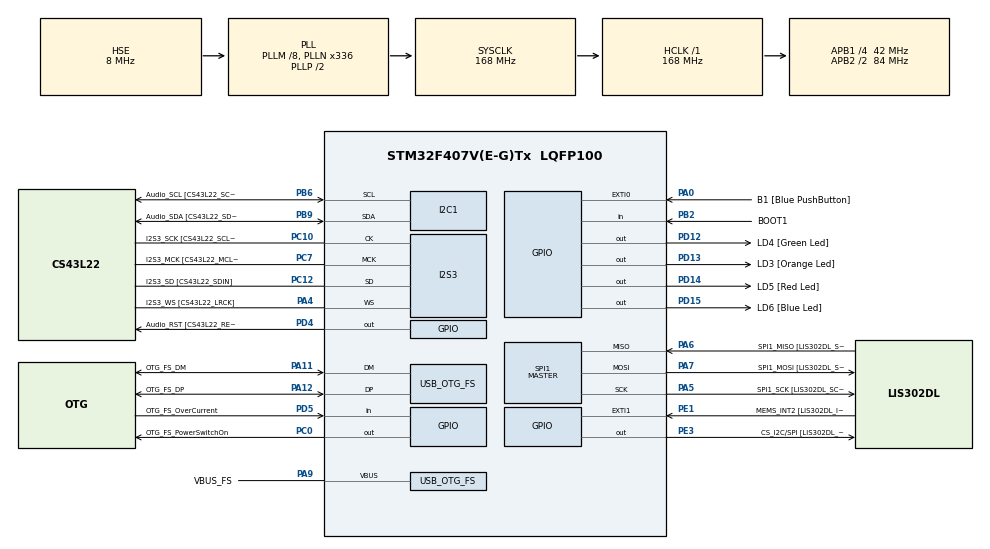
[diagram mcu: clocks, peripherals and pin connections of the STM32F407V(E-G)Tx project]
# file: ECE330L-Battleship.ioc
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I2S3.AudioFreq-Half_Duplex_Master=I2S_AUDIOFREQ_96K
I2S3.ErrorAudioFreq=-2.34 %
I2S3.ErrorAudioFreq-Half_Duplex_Master=0.8 %
I2S3.FullDuplexMode=I2S_FULLDUPLEXMODE_DISABLE
I2S3.Instance=SPI$Index
I2S3.RealAudioFreq=93.75 KHz
I2S3.RealAudioFreq-Half_Duplex_Master=96.774 KHz
I2S3.VirtualMode=I2S_MODE_MASTER
Mcu.Family=STM32F4
Mcu.Name=STM32F407V(E-G)Tx
Mcu.Package=LQFP100
NVIC.OTG_FS_IRQn=true\:0\:0\:false\:false\:true\:true\:true\:true
NVIC.PriorityGroup=NVIC_PRIORITYGROUP_0
PA0-WKUP.GPIO_Label=B1 [Blue PushButton]
PA0-WKUP.GPIO_ModeDefaultEXTI=GPIO_MODE_EVT_RISING
PA0-WKUP.GPIO_PuPd=GPIO_NOPULL
PA0-WKUP.Signal=GPXTI0
PA10.GPIO_Label=OTG_FS_ID
PA10.GPIO_Mode=GPIO_MODE_AF_PP
PA10.GPIO_PuPd=GPIO_NOPULL
PA10.GPIO_Speed=GPIO_SPEED_FREQ_LOW
PA10.Signal=USB_OTG_FS_ID
PA11.GPIO_Label=OTG_FS_DM
PA11.GPIO_Mode=GPIO_MODE_AF_PP
PA11.GPIO_PuPd=GPIO_NOPULL
PA11.GPIO_Speed=GPIO_SPEED_FREQ_LOW
PA11.Mode=Host_Only
PA11.Signal=USB_OTG_FS_DM
PA12.GPIO_Label=OTG_FS_DP
PA12.GPIO_Mode=GPIO_MODE_AF_PP
PA12.GPIO_PuPd=GPIO_NOPULL
PA12.GPIO_Speed=GPIO_SPEED_FREQ_LOW
PA12.Mode=Host_Only
PA12.Signal=USB_OTG_FS_DP
PA13.GPIO_Label=SWDIO
PA13.Mode=Serial_Wire
PA13.Signal=SYS_JTMS-SWDIO
PA14.GPIO_Label=SWCLK
PA14.Mode=Serial_Wire
PA14.Signal=SYS_JTCK-SWCLK
PA4.GPIO_Label=I2S3_WS [CS43L22_LRCK]
PA4.GPIO_Mode=GPIO_MODE_AF_PP
PA4.GPIO_PuPd=GPIO_NOPULL
PA4.GPIO_Speed=GPIO_SPEED_FREQ_LOW
PA4.Mode=Half_Duplex_Master
PA4.Signal=I2S3_WS
PA5.GPIO_Label=SPI1_SCK [LIS302DL_SCL/SPC]
PA5.GPIO_Mode=GPIO_MODE_AF_PP
PA5.GPIO_PuPd=GPIO_NOPULL
PA5.GPIO_Speed=GPIO_SPEED_FREQ_LOW
PA5.Mode=Full_Duplex_Master
PA5.Signal=SPI1_SCK
PA6.GPIO_Label=SPI1_MISO [LIS302DL_SDO]
PA6.GPIO_Mode=GPIO_MODE_AF_PP
PA6.GPIO_PuPd=GPIO_NOPULL
PA6.GPIO_Speed=GPIO_SPEED_FREQ_LOW
PA6.Mode=Full_Duplex_Master
PA6.Signal=SPI1_MISO
PA7.GPIO_Label=SPI1_MOSI [LIS302DL_SDA/SDI/SDO]
PA7.GPIO_Mode=GPIO_MODE_AF_PP
PA7.GPIO_PuPd=GPIO_NOPULL
PA7.GPIO_Speed=GPIO_SPEED_FREQ_LOW
PA7.Mode=Full_Duplex_Master
PA7.Signal=SPI1_MOSI
PA9.GPIO_Label=VBUS_FS
PA9.GPIO_Mode=GPIO_MODE_INPUT
PA9.GPIO_PuPd=GPIO_NOPULL
PA9.Mode=Activate_VBUS
PA9.Signal=USB_OTG_FS_VBUS
PB10.GPIO_Label=CLK_IN [MP45DT02_CLK]
PB10.GPIO_Mode=GPIO_MODE_AF_PP
PB10.GPIO_PuPd=GPIO_NOPULL
PB10.GPIO_Speed=GPIO_SPEED_FREQ_LOW
PB10.Signal=I2S2_CK
PB2.GPIO_Label=BOOT1
PB2.GPIO_Mode=GPIO_MODE_INPUT
PB2.GPIO_PuPd=GPIO_NOPULL
PB2.Signal=GPIO_Input
PB3.GPIO_Label=SWO
PB3.Signal=SYS_JTDO-SWO
PB6.GPIO_Label=Audio_SCL [CS43L22_SCL]
PB6.GPIO_Mode=GPIO_MODE_AF_OD
PB6.GPIO_Pu=GPIO_PULLUP
PB6.GPIO_PuPd=GPIO_NOPULL
PB6.GPIO_Speed=GPIO_SPEED_FREQ_LOW
PB6.Mode=I2C
PB6.Signal=I2C1_SCL
PB9.GPIO_Label=Audio_SDA [CS43L22_SDA]
PB9.GPIO_Mode=GPIO_MODE_AF_OD
PB9.GPIO_Pu=GPIO_PULLUP
PB9.GPIO_PuPd=GPIO_NOPULL
PB9.GPIO_Speed=GPIO_SPEED_FREQ_LOW
PB9.Mode=I2C
PB9.Signal=I2C1_SDA
PC0.GPIO_Label=OTG_FS_PowerSwitchOn
PC0.GPIO_PuPd=GPIO_NOPULL
PC0.GPIO_Speed=GPIO_SPEED_FREQ_LOW
PC0.PinState=GPIO_PIN_SET
PC0.Signal=GPIO_Output
PC10.GPIO_Label=I2S3_SCK [CS43L22_SCLK]
PC10.GPIO_Mode=GPIO_MODE_AF_PP
PC10.GPIO_PuPd=GPIO_NOPULL
PC10.GPIO_Speed=GPIO_SPEED_FREQ_LOW
PC10.Mode=Half_Duplex_Master
PC10.Signal=I2S3_CK
PC12.GPIO_Label=I2S3_SD [CS43L22_SDIN]
PC12.GPIO_Mode=GPIO_MODE_AF_PP
PC12.GPIO_PuPd=GPIO_NOPULL
PC12.GPIO_Speed=GPIO_SPEED_FREQ_LOW
PC12.Mode=Half_Duplex_Master
PC12.Signal=I2S3_SD
PC14-OSC32_IN.GPIO_Label=PC14-OSC32_IN
PC14-OSC32_IN.Mode=LSE-External-Oscillator
PC14-OSC32_IN.Signal=RCC_OSC32_IN
PC15-OSC32_OUT.GPIO_Label=PC15-OSC32_OUT
PC15-OSC32_OUT.Mode=LSE-External-Oscillator
PC15-OSC32_OUT.Signal=RCC_OSC32_OUT
PC3.GPIO_Label=PDM_OUT [MP45DT02_DOUT]
PC3.GPIO_Mode=GPIO_MODE_AF_PP
PC3.GPIO_PuPd=GPIO_NOPULL
PC3.GPIO_Speed=GPIO_SPEED_FREQ_LOW
PC3.Signal=I2S2_SD
PC7.GPIO_Label=I2S3_MCK [CS43L22_MCLK]
PC7.GPIO_Mode=GPIO_MODE_AF_PP
PC7.GPIO_PuPd=GPIO_NOPULL
PC7.GPIO_Speed=GPIO_SPEED_FREQ_LOW
PC7.Mode=Master_Clock_Activated
PC7.Signal=I2S3_MCK
PD12.GPIO_Label=LD4 [Green Led]
PD12.GPIO_PuPd=GPIO_NOPULL
PD12.GPIO_Speed=GPIO_SPEED_FREQ_LOW
PD12.Signal=GPIO_Output
PD13.GPIO_Label=LD3 [Orange Led]
PD13.GPIO_PuPd=GPIO_NOPULL
PD13.GPIO_Speed=GPIO_SPEED_FREQ_LOW
PD13.Signal=GPIO_Output
PD14.GPIO_Label=LD5 [Red Led]
PD14.GPIO_PuPd=GPIO_NOPULL
PD14.GPIO_Speed=GPIO_SPEED_FREQ_LOW
PD14.Signal=GPIO_Output
PD15.GPIO_Label=LD6 [Blue Led]
PD15.GPIO_PuPd=GPIO_NOPULL
PD15.GPIO_Speed=GPIO_SPEED_FREQ_LOW
PD15.Signal=GPIO_Output
PD4.GPIO_Label=Audio_RST [CS43L22_RESET]
PD4.GPIO_PuPd=GPIO_NOPULL
PD4.GPIO_Speed=GPIO_SPEED_FREQ_LOW
PD4.Signal=GPIO_Output
PD5.GPIO_Label=OTG_FS_OverCurrent
PD5.GPIO_Mode=GPIO_MODE_INPUT
PD5.GPIO_PuPd=GPIO_NOPULL
PD5.Signal=GPIO_Input
PE1.GPIO_Label=MEMS_INT2 [LIS302DL_INT2]
PE1.GPIO_ModeDefaultEXTI=GPIO_MODE_EVT_RISING
PE1.GPIO_PuPd=GPIO_NOPULL
PE1.Signal=GPXTI1
PE3.GPIO_Label=CS_I2C/SPI [LIS302DL_CS_I2C/SPI]
PE3.GPIO_PuPd=GPIO_NOPULL
PE3.GPIO_Speed=GPIO_SPEED_FREQ_LOW
PE3.Signal=GPIO_Output
PH0-OSC_IN.GPIO_Label=PH0-OSC_IN
PH0-OSC_IN.Mode=HSE-External-Oscillator
PH0-OSC_IN.Signal=RCC_OSC_IN
PH1-OSC_OUT.GPIO_Label=PH1-OSC_OUT
PH1-OSC_OUT.Mode=HSE-External-Oscillator
PH1-OSC_OUT.Signal=RCC_OSC_OUT
ProjectManager.HeapSize=0x200
ProjectManager.StackSize=0x400
ProjectManager.TargetToolchain=STM32CubeIDE
RCC.48MHZClocksFreq_Value=48000000
RCC.AHBFreq_Value=168000000
RCC.APB1CLKDivider=RCC_HCLK_DIV4
RCC.APB1Freq_Value=42000000
RCC.APB1TimFreq_Value=84000000
RCC.APB2CLKDivider=RCC_HCLK_DIV2
RCC.APB2Freq_Value=84000000
RCC.APB2TimFreq_Value=168000000
RCC.CortexFreq_Value=168000000
RCC.HCLKFreq_Value=168000000
RCC.HSE_VALUE=8000000
RCC.HSI_VALUE=16000000
RCC.PLLM=8
RCC.PLLN=336
RCC.PLLQ=7
RCC.SYSCLKFreq_VALUE=168000000
RCC.SYSCLKSource=RCC_SYSCLKSOURCE_PLLCLK
RCC.VCOOutputFreq_Value=336000000
SPI1.BaudRatePrescaler-Full_Duplex_Master=SPI_BAUDRATEPRESCALER_2
SPI1.CalculateBaudRate-Full_Duplex_Master=42.0 MBits/s
SPI1.Direction=SPI_DIRECTION_2LINES
SPI1.Mode=SPI_MODE_MASTER
SPI1.Mode-Full_Duplex_Master=SPI_MODE_MASTER
SPI1.VirtualType=VM_MASTER
USB_HOST.BSP.number=1
USB_HOST.USBH_HandleTypeDef-CDC_FS=hUsbHostFS
USB_HOST.VirtualModeFS=Cdc
USB_HOST0.BSP.STBoard=false
USB_HOST0.BSP.api=Unknown
USB_HOST0.BSP.instance=PC0
USB_HOST0.BSP.ip=GPIO
USB_HOST0.BSP.mode=Output
USB_HOST0.BSP.name=Drive_VBUS_FS
USB_HOST0.BSP.solution=PC0
USB_OTG_FS.VirtualMode=Host_Only
USB_OTG_FS.phy_itface=HCD_PHY_EMBEDDED
VP_TIM7_VS_ClockSourceINT.Mode=Enable_Timer
VP_USB_HOST_VS_USB_HOST_CDC_FS.Mode=CDC_FS
board=STM32F407G-DISC1

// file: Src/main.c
/* USER CODE BEGIN Header */
/**
  ******************************************************************************
  * @file           : main.c  LAB6
  * @brief          : Main program body
  ******************************************************************************
  * @attention
  *
  * Copyright (c) 2022 STMicroelectronics.
  * All rights reserved.
  *
  * This software is licensed under terms that can be found in the LICENSE file
  * in the root directory of this software component.
  * If no LICENSE file comes with this software, it is provided AS-IS.
  *
  ******************************************************************************
  */
/* USER CODE END Header */
#include "main.h"
#include "usb_host.h"
#include "seg7.h"
#include <stdint.h>

I2C_HandleTypeDef hi2c1;

I2S_HandleTypeDef hi2s3;

SPI_HandleTypeDef hspi1;

TIM_HandleTypeDef htim7;

/* USER CODE BEGIN PV */
int DelayValue = 50;

/*
 * Battleship board storage.
 *
 * Vertical map: 2 rows x 16 columns.
 *   Bits 31..16 = top row, columns 0..15.
 *   Bits 15..0  = bottom row, columns 0..15.
 *
 * Horizontal map: 3 rows x 8 columns.
 *   Bits  7..0  = row 0, columns 0..7.
 *   Bits 15..8  = row 1, columns 0..7.
 *   Bits 23..16 = row 2, columns 0..7.
 *   Bits 31..24 are unused.
 *
 * A set bit (1) means that a boat occupies that cell.
 */
volatile uint32_t Player1_Vertical_Map = 0;
volatile uint32_t Player1_Horizontal_Map = 0;
volatile uint32_t Player2_Vertical_Map = 0;
volatile uint32_t Player2_Horizontal_Map = 0;

/* Placement state: Player 1 places first, then Player 2. */
volatile uint8_t Current_Player = 1;
volatile uint8_t Boats_Placed = 0;       /* 0..4 for each player */
volatile uint8_t Placement_Complete = 0;

/* Cursor/map state. */
volatile uint8_t Cursor_X = 0;
volatile uint8_t Cursor_Y = 0;
volatile uint8_t Selected_Map = 0;       /* 0 = vertical, 1 = horizontal */
volatile uint8_t Cursor_Blink_On = 1;    /* For the board-display renderer */
volatile uint8_t Last_Placement_Succeeded = 0;
volatile uint8_t Last_Placement_Failed = 0;

/* Potentiometers: PA0 = left/right, PA1 = up/down. */
#define POT_LEFT_RIGHT_CHANNEL  0U
#define POT_UP_DOWN_CHANNEL     1U

/* Switch 6 = PC10 map selection; Switch 7 = PC11 placement confirmation.
 * This implementation assumes the switches pull the input LOW when active.
 */
#define MAP_SELECT_PIN          (1U << 10)
#define PLACE_BUTTON_PIN        (1U << 11)
/* USER CODE END PV */

void SystemClock_Config(void);
static void MX_GPIO_Init(void);
static void MX_I2C1_Init(void);
static void MX_I2S3_Init(void);
static void MX_SPI1_Init(void);
static void MX_TIM7_Init(void);
void MX_USB_HOST_Process(void);

/* USER CODE BEGIN PFP */
static void Battleship_ADC_Init(void);
static uint16_t Battleship_ADC_Read(uint8_t channel);
static void Battleship_Update_Cursor(void);
static void Battleship_Render_LEDs(void);
static uint8_t Battleship_Try_Place_Boat(void);
static uint8_t Battleship_Is_Button_Pressed(void);
//void Play_Note(int note,int size,int tempo,int space);
//extern void Seven_Segment_Digit (unsigned char digit, unsigned char hex_char, unsigned char dot);
//extern void Seven_Segment(unsigned int HexValue);

/* USER CODE END PFP */

/* USER CODE BEGIN 0 */

char ramp = 0;
char RED_BRT = 0;
char GREEN_BRT = 0;
char BLUE_BRT = 0;
char RED_STEP = 1;
char GREEN_STEP = 2;
char BLUE_STEP = 3;
char DIM_Enable = 0;
char Music_ON = 0;
int TONE = 0;
int COUNT = 0;
int INDEX = 0;
int Note = 0;
int Save_Note = 0;
int Vibrato_Depth = 1;
int Vibrato_Rate = 40;
int Vibrato_Count = 0;
char Animate_On = 1;
char Message_Length = 0;
char *Message_Pointer;
char *Save_Pointer;
int Delay_msec = 0;
int Delay_counter = 0;

int CRC_Tx = 0xd37e11c9;
int CRC_Rx = 0;

/* HELLO ECE-330L */
/* BATTLESHIP title message */
/* BATTLESHIP title marquee */
char Message[] =
{
    /* Leading spaces: lets BATTLESHIP scroll in from the right */
    SPACE, SPACE, SPACE, SPACE,
    SPACE, SPACE, SPACE, SPACE,

    /* Game title */
    CHAR_B, CHAR_A, CHAR_T, CHAR_T, CHAR_L,
    CHAR_E, CHAR_S, CHAR_H, CHAR_I, CHAR_P,

    /* Trailing spaces: lets BATTLESHIP scroll off the left */
    SPACE, SPACE, SPACE, SPACE,
    SPACE, SPACE, SPACE, SPACE
};
/* Declare array for Song */
Music Song[100];

/* USER CODE END 0 */

int main(void)
{

  /* MCU Configuration--------------------------------------------------------*/

  /* Reset of all peripherals, Initializes the Flash interface and the Systick. */
  HAL_Init();

  /* Configure the system clock */
  SystemClock_Config();

  /* Initialize all configured peripherals */
  MX_GPIO_Init();
  MX_I2C1_Init();
  MX_I2S3_Init();
  MX_SPI1_Init();
  MX_USB_HOST_Init();
  MX_TIM7_Init();
  /* USER CODE BEGIN 2 */

  /*** Configure GPIOs ***/
  GPIOD->MODER = 0x55555555; // set all Port D pins to outputs
  GPIOA->MODER |= 0x000000FF; // Port A mode register - make A0 to A3 analog pins
  GPIOE->MODER |= 0x55555555; // Port E mode register - make E0 to E15 outputs
  GPIOC->MODER |= 0x0; // Port C mode register - all inputs
  GPIOE->ODR = 0xFFFF; // Set all Port E pins high

  /*** Initialize Battleship title marquee ***/
  Save_Pointer = Message;
  Message_Pointer = Message;

  Message_Length = sizeof(Message);

  Delay_msec = 200;
  Delay_counter = 0;

  /*** Configure the placement controls ***/
  /* PC10 = Switch 6 (map select), PC11 = Switch 7 (place). */
  GPIOC->MODER &= ~((3U << (10U * 2U)) | (3U << (11U * 2U)));
  GPIOC->PUPDR &= ~((3U << (10U * 2U)) | (3U << (11U * 2U)));
  GPIOC->PUPDR |=  ((1U << (10U * 2U)) | (1U << (11U * 2U))); /* Pull-ups */

  /*** Configure ADC1 for the two potentiometers on PA0 and PA1 ***/
  Battleship_ADC_Init();

  /* Start with the placement cursor at the first cell. */
  Cursor_X = 0;
  Cursor_Y = 0;
  Selected_Map = 0;
  Cursor_Blink_On = 1;
  Last_Placement_Succeeded = 0;
  Last_Placement_Failed = 0;

  /*** Turn on CRC Clock in AHB1ENR to enable CRC hardware ***/

  /*****************************************************************************************************
  These commands are handled as part of the MX_TIM7_Init() function and don't need to be enabled
  RCC->AHB1ENR |= 1<<5; // Enable clock for timer 7
  __enable_irq(); // Enable interrupts
  NVIC_EnableIRQ(TIM7_IRQn); // Enable Timer 7 Interrupt in the NVIC controller
  *******************************************************************************************************/

  TIM7->PSC = 199; //250Khz timer clock prescaler value, 250Khz = 50Mhz / 200
  TIM7->ARR = 1; // Count to 1 then generate interrupt (divide by 2), 125Khz interrupt rate to increment byte counter for 78Hz PWM
  TIM7->DIER |= 1; // Enable timer 7 interrupt
  TIM7->CR1 |= 1; // Enable timer counting

  /* USER CODE END 2 */

  /* Infinite loop */
  /* USER CODE BEGIN WHILE */
  /* Track the current physical state so a held button only places once. */
  uint8_t previous_place_pressed = Battleship_Is_Button_Pressed();
  uint32_t last_confirm_time = 0;
  uint32_t last_cursor_update = 0;
  uint32_t last_blink_update = HAL_GetTick();

  while (1)
  {
    /* USER CODE END WHILE */
    MX_USB_HOST_Process();

    /* Switch 6 selects which board the potentiometers control.
     * LOW = vertical map; HIGH = horizontal map.
     */
    if ((GPIOC->IDR & MAP_SELECT_PIN) == 0U)
      Selected_Map = 0;
    else
      Selected_Map = 1;

    uint32_t now = HAL_GetTick();

    /* Read the two potentiometers often enough for smooth cursor movement. */
    if (!Placement_Complete && (now - last_cursor_update >= 25U))
    {
      Battleship_Update_Cursor();
      last_cursor_update = now;
    }

    /* Blink the cursor on the 2-row x 16-column peripheral LED display. */
    if (now - last_blink_update >= 250U)
    {
      Cursor_Blink_On = (uint8_t)!Cursor_Blink_On;
      last_blink_update = now;
    }

    Battleship_Render_LEDs();

    /* Switch 7 confirms the currently selected boat location.
     * A rising edge (released -> pressed) prevents repeated placement
     * while the button is held down.
     */
    uint8_t place_pressed = Battleship_Is_Button_Pressed();

    if (!Placement_Complete &&
        place_pressed &&
        !previous_place_pressed &&
        (now - last_confirm_time >= 180U))
    {
      if (Battleship_Try_Place_Boat())
      {
        Last_Placement_Succeeded = 1;
        Last_Placement_Failed = 0;
      }
      else
      {
        Last_Placement_Succeeded = 0;
        Last_Placement_Failed = 1;
      }

      last_confirm_time = now;
    }

    previous_place_pressed = place_pressed;

  }
}

void SystemClock_Config(void)
{
  RCC_OscInitTypeDef RCC_OscInitStruct = {0};
  RCC_ClkInitTypeDef RCC_ClkInitStruct = {0};

  /** Configure the main internal regulator output voltage
  */
  __HAL_RCC_PWR_CLK_ENABLE();
  __HAL_PWR_VOLTAGESCALING_CONFIG(PWR_REGULATOR_VOLTAGE_SCALE1);

  /** Initializes the RCC Oscillators according to the specified parameters
  * in the RCC_OscInitTypeDef structure.
  */
  RCC_OscInitStruct.OscillatorType = RCC_OSCILLATORTYPE_HSE;
  RCC_OscInitStruct.HSEState = RCC_HSE_ON;
  RCC_OscInitStruct.PLL.PLLState = RCC_PLL_ON;
  RCC_OscInitStruct.PLL.PLLSource = RCC_PLLSOURCE_HSE;
  RCC_OscInitStruct.PLL.PLLM = 8;
  RCC_OscInitStruct.PLL.PLLN = 336;
  RCC_OscInitStruct.PLL.PLLP = RCC_PLLP_DIV2;
  RCC_OscInitStruct.PLL.PLLQ = 7;
  if (HAL_RCC_OscConfig(&RCC_OscInitStruct) != HAL_OK)
  {
    Error_Handler();
  }

  /** Initializes the CPU, AHB and APB buses clocks
  */
  RCC_ClkInitStruct.ClockType = RCC_CLOCKTYPE_HCLK|RCC_CLOCKTYPE_SYSCLK
                              |RCC_CLOCKTYPE_PCLK1|RCC_CLOCKTYPE_PCLK2;
  RCC_ClkInitStruct.SYSCLKSource = RCC_SYSCLKSOURCE_PLLCLK;
  RCC_ClkInitStruct.AHBCLKDivider = RCC_SYSCLK_DIV1;
  RCC_ClkInitStruct.APB1CLKDivider = RCC_HCLK_DIV4;
  RCC_ClkInitStruct.APB2CLKDivider = RCC_HCLK_DIV2;

  if (HAL_RCC_ClockConfig(&RCC_ClkInitStruct, FLASH_LATENCY_5) != HAL_OK)
  {
    Error_Handler();
  }
}

static void MX_I2C1_Init(void)
{

  hi2c1.Instance = I2C1;
  hi2c1.Init.ClockSpeed = 100000;
  hi2c1.Init.DutyCycle = I2C_DUTYCYCLE_2;
  hi2c1.Init.OwnAddress1 = 0;
  hi2c1.Init.AddressingMode = I2C_ADDRESSINGMODE_7BIT;
  hi2c1.Init.DualAddressMode = I2C_DUALADDRESS_DISABLE;
  hi2c1.Init.OwnAddress2 = 0;
  hi2c1.Init.GeneralCallMode = I2C_GENERALCALL_DISABLE;
  hi2c1.Init.NoStretchMode = I2C_NOSTRETCH_DISABLE;
  if (HAL_I2C_Init(&hi2c1) != HAL_OK)
  {
    Error_Handler();
  }

}

static void MX_I2S3_Init(void)
{

  hi2s3.Instance = SPI3;
  hi2s3.Init.Mode = I2S_MODE_MASTER_TX;
  hi2s3.Init.Standard = I2S_STANDARD_PHILIPS;
  hi2s3.Init.DataFormat = I2S_DATAFORMAT_16B;
  hi2s3.Init.MCLKOutput = I2S_MCLKOUTPUT_ENABLE;
  hi2s3.Init.AudioFreq = I2S_AUDIOFREQ_96K;
  hi2s3.Init.CPOL = I2S_CPOL_LOW;
  hi2s3.Init.ClockSource = I2S_CLOCK_PLL;
  hi2s3.Init.FullDuplexMode = I2S_FULLDUPLEXMODE_DISABLE;
  if (HAL_I2S_Init(&hi2s3) != HAL_OK)
  {
    Error_Handler();
  }

}

static void MX_SPI1_Init(void)
{

  /* SPI1 parameter configuration*/
  hspi1.Instance = SPI1;
  hspi1.Init.Mode = SPI_MODE_MASTER;
  hspi1.Init.Direction = SPI_DIRECTION_2LINES;
  hspi1.Init.DataSize = SPI_DATASIZE_8BIT;
  hspi1.Init.CLKPolarity = SPI_POLARITY_LOW;
  hspi1.Init.CLKPhase = SPI_PHASE_1EDGE;
  hspi1.Init.NSS = SPI_NSS_SOFT;
  hspi1.Init.BaudRatePrescaler = SPI_BAUDRATEPRESCALER_2;
  hspi1.Init.FirstBit = SPI_FIRSTBIT_MSB;
  hspi1.Init.TIMode = SPI_TIMODE_DISABLE;
  hspi1.Init.CRCCalculation = SPI_CRCCALCULATION_DISABLE;
  hspi1.Init.CRCPolynomial = 10;
  if (HAL_SPI_Init(&hspi1) != HAL_OK)
  {
    Error_Handler();
  }

}

static void MX_TIM7_Init(void)
{

  TIM_MasterConfigTypeDef sMasterConfig = {0};

  htim7.Instance = TIM7;
  htim7.Init.Prescaler = 0;
  htim7.Init.CounterMode = TIM_COUNTERMODE_UP;
  htim7.Init.Period = 65535;
  htim7.Init.AutoReloadPreload = TIM_AUTORELOAD_PRELOAD_DISABLE;
  if (HAL_TIM_Base_Init(&htim7) != HAL_OK)
  {
    Error_Handler();
  }
  sMasterConfig.MasterOutputTrigger = TIM_TRGO_RESET;
  sMasterConfig.MasterSlaveMode = TIM_MASTERSLAVEMODE_DISABLE;
  if (HAL_TIMEx_MasterConfigSynchronization(&htim7, &sMasterConfig) != HAL_OK)
  {
    Error_Handler();
  }

}

static void MX_GPIO_Init(void)
{
  GPIO_InitTypeDef GPIO_InitStruct = {0};

  /* GPIO Ports Clock Enable */
  __HAL_RCC_GPIOE_CLK_ENABLE();
  __HAL_RCC_GPIOC_CLK_ENABLE();
  __HAL_RCC_GPIOH_CLK_ENABLE();
  __HAL_RCC_GPIOA_CLK_ENABLE();
  __HAL_RCC_GPIOB_CLK_ENABLE();
  __HAL_RCC_GPIOD_CLK_ENABLE();

  /*Configure GPIO pin Output Level */
  HAL_GPIO_WritePin(CS_I2C_SPI_GPIO_Port, CS_I2C_SPI_Pin, GPIO_PIN_RESET);

  /*Configure GPIO pin Output Level */
  HAL_GPIO_WritePin(OTG_FS_PowerSwitchOn_GPIO_Port, OTG_FS_PowerSwitchOn_Pin, GPIO_PIN_SET);

  /*Configure GPIO pin Output Level */
  HAL_GPIO_WritePin(GPIOD, LD4_Pin|LD3_Pin|LD5_Pin|LD6_Pin
                          |Audio_RST_Pin, GPIO_PIN_RESET);

  /*Configure GPIO pin : CS_I2C_SPI_Pin */
  GPIO_InitStruct.Pin = CS_I2C_SPI_Pin;
  GPIO_InitStruct.Mode = GPIO_MODE_OUTPUT_PP;
  GPIO_InitStruct.Pull = GPIO_NOPULL;
  GPIO_InitStruct.Speed = GPIO_SPEED_FREQ_LOW;
  HAL_GPIO_Init(CS_I2C_SPI_GPIO_Port, &GPIO_InitStruct);

  /*Configure GPIO pin : OTG_FS_PowerSwitchOn_Pin */
  GPIO_InitStruct.Pin = OTG_FS_PowerSwitchOn_Pin;
  GPIO_InitStruct.Mode = GPIO_MODE_OUTPUT_PP;
  GPIO_InitStruct.Pull = GPIO_NOPULL;
  GPIO_InitStruct.Speed = GPIO_SPEED_FREQ_LOW;
  HAL_GPIO_Init(OTG_FS_PowerSwitchOn_GPIO_Port, &GPIO_InitStruct);

  /*Configure GPIO pin : PDM_OUT_Pin */
  GPIO_InitStruct.Pin = PDM_OUT_Pin;
  GPIO_InitStruct.Mode = GPIO_MODE_AF_PP;
  GPIO_InitStruct.Pull = GPIO_NOPULL;
  GPIO_InitStruct.Speed = GPIO_SPEED_FREQ_LOW;
  GPIO_InitStruct.Alternate = GPIO_AF5_SPI2;
  HAL_GPIO_Init(PDM_OUT_GPIO_Port, &GPIO_InitStruct);

  /*Configure GPIO pin : B1_Pin */
  GPIO_InitStruct.Pin = B1_Pin;
  GPIO_InitStruct.Mode = GPIO_MODE_EVT_RISING;
  GPIO_InitStruct.Pull = GPIO_NOPULL;
  HAL_GPIO_Init(B1_GPIO_Port, &GPIO_InitStruct);

  /*Configure GPIO pin : BOOT1_Pin */
  GPIO_InitStruct.Pin = BOOT1_Pin;
  GPIO_InitStruct.Mode = GPIO_MODE_INPUT;
  GPIO_InitStruct.Pull = GPIO_NOPULL;
  HAL_GPIO_Init(BOOT1_GPIO_Port, &GPIO_InitStruct);

  /*Configure GPIO pin : CLK_IN_Pin */
  GPIO_InitStruct.Pin = CLK_IN_Pin;
  GPIO_InitStruct.Mode = GPIO_MODE_AF_PP;
  GPIO_InitStruct.Pull = GPIO_NOPULL;
  GPIO_InitStruct.Speed = GPIO_SPEED_FREQ_LOW;
  GPIO_InitStruct.Alternate = GPIO_AF5_SPI2;
  HAL_GPIO_Init(CLK_IN_GPIO_Port, &GPIO_InitStruct);

  /*Configure GPIO pins : LD4_Pin LD3_Pin LD5_Pin LD6_Pin
                           Audio_RST_Pin */
  GPIO_InitStruct.Pin = LD4_Pin|LD3_Pin|LD5_Pin|LD6_Pin
                          |Audio_RST_Pin;
  GPIO_InitStruct.Mode = GPIO_MODE_OUTPUT_PP;
  GPIO_InitStruct.Pull = GPIO_NOPULL;
  GPIO_InitStruct.Speed = GPIO_SPEED_FREQ_LOW;
  HAL_GPIO_Init(GPIOD, &GPIO_InitStruct);

  /*Configure GPIO pin : OTG_FS_OverCurrent_Pin */
  GPIO_InitStruct.Pin = OTG_FS_OverCurrent_Pin;
  GPIO_InitStruct.Mode = GPIO_MODE_INPUT;
  GPIO_InitStruct.Pull = GPIO_NOPULL;
  HAL_GPIO_Init(OTG_FS_OverCurrent_GPIO_Port, &GPIO_InitStruct);

  /*Configure GPIO pin : MEMS_INT2_Pin */
  GPIO_InitStruct.Pin = MEMS_INT2_Pin;
  GPIO_InitStruct.Mode = GPIO_MODE_EVT_RISING;
  GPIO_InitStruct.Pull = GPIO_NOPULL;
  HAL_GPIO_Init(MEMS_INT2_GPIO_Port, &GPIO_InitStruct);

}

/* USER CODE BEGIN 4 */

/**
 * @brief Configure ADC1 for single conversions on PA0 (ADC channel 0)
 *        and PA1 (ADC channel 1).
 */
static void Battleship_ADC_Init(void)
{
  /* ADC1 clock and ADC common clock prescaler (PCLK2 / 4). */
  RCC->APB2ENR |= RCC_APB2ENR_ADC1EN;
  ADC->CCR = (ADC->CCR & ~(3U << 16)) | (1U << 16);

  /* PA0 and PA1 are analog inputs. The existing project also configures
   * PA2 and PA3 as analog, so preserve that existing configuration.
   */
  GPIOA->MODER |= 0x000000FFU;
  GPIOA->PUPDR &= ~0x0000000FU;

  /* 84-cycle sampling time for channels 0 and 1. */
  ADC1->CR1 = 0;
  ADC1->CR2 = 0;
  ADC1->SMPR2 &= ~((7U << 0) | (7U << 3));
  ADC1->SMPR2 |=  ((4U << 0) | (4U << 3));

  /* One conversion in the regular sequence; right aligned, 12-bit. */
  ADC1->SQR1 &= ~(0xFU << 20);
  ADC1->CR2 |= ADC_CR2_ADON;
}

/**
 * @brief Read one ADC channel and return a 12-bit result (0..4095).
 */
static uint16_t Battleship_ADC_Read(uint8_t channel)
{
  volatile uint32_t discard;

  /* Clear any previous result and select the requested regular channel. */
  discard = ADC1->DR;
  (void)discard;
  ADC1->SQR3 = (uint32_t)(channel & 0x1FU);

  /* Start a software-triggered conversion and wait for completion. */
  ADC1->CR2 |= ADC_CR2_SWSTART;
  while ((ADC1->SR & ADC_SR_EOC) == 0U)
  {
    /* Wait for ADC conversion. */
  }

  return (uint16_t)(ADC1->DR & 0x0FFFU);
}

/**
 * @brief Convert the potentiometer positions into board coordinates.
 */
static void Battleship_Update_Cursor(void)
{
  uint16_t horizontal_value = Battleship_ADC_Read(POT_LEFT_RIGHT_CHANNEL);
  uint16_t vertical_value = Battleship_ADC_Read(POT_UP_DOWN_CHANNEL);

  uint8_t width;
  uint8_t height;

  if (Selected_Map == 0U)
  {
    width = 16U;
    height = 2U;
  }
  else
  {
    width = 8U;
    height = 3U;
  }

  Cursor_X = (uint8_t)(((uint32_t)horizontal_value * width) / 4096U);
  Cursor_Y = (uint8_t)(((uint32_t)vertical_value * height) / 4096U);

  /* Defensive clamp in case of an unexpected ADC value. */
  if (Cursor_X >= width)  Cursor_X = (uint8_t)(width - 1U);
  if (Cursor_Y >= height) Cursor_Y = (uint8_t)(height - 1U);
}

/**
 * @brief Render the selected player's map and blinking cursor on the
 *        peripheral board's 2-row x 16-column LED display.
 *
 * Assumed wiring: GPIOD[15:0] drives the top LED row and GPIOE[15:0]
 * drives the bottom LED row. LEDs are assumed active-high.
 *
 * The vertical map uses its natural 2x16 layout. The horizontal map's
 * 3x8 cells are flattened into LED positions 0..23: the first 16 cells
 * occupy the top LED row, and the remaining 8 occupy the first 8 LEDs
 * of the bottom row.
 */
static void Battleship_Render_LEDs(void)
{
  uint32_t vertical_map;
  uint32_t horizontal_map;
  uint16_t led_top = 0U;
  uint16_t led_bottom = 0U;

  if (Current_Player == 1U)
  {
    vertical_map = Player1_Vertical_Map;
    horizontal_map = Player1_Horizontal_Map;
  }
  else
  {
    vertical_map = Player2_Vertical_Map;
    horizontal_map = Player2_Horizontal_Map;
  }

  if (Selected_Map == 0U)
  {
    led_top = (uint16_t)((vertical_map >> 16) & 0xFFFFU);
    led_bottom = (uint16_t)(vertical_map & 0xFFFFU);

    if (Cursor_Blink_On && Cursor_X < 16U && Cursor_Y < 2U)
    {
      uint16_t cursor_bit = (uint16_t)(1U << Cursor_X);
      if (Cursor_Y == 0U)
        led_top ^= cursor_bit;
      else
        led_bottom ^= cursor_bit;
    }
  }
  else
  {
    /* Flatten the 3x8 logical map into 24 consecutive LED positions. */
    for (uint8_t cell = 0U; cell < 24U; cell++)
    {
      if ((horizontal_map & (1UL << cell)) != 0U)
      {
        if (cell < 16U)
          led_top |= (uint16_t)(1U << cell);
        else
          led_bottom |= (uint16_t)(1U << (cell - 16U));
      }
    }

    if (Cursor_Blink_On && Cursor_X < 8U && Cursor_Y < 3U)
    {
      uint8_t cell = (uint8_t)(Cursor_Y * 8U + Cursor_X);
      if (cell < 16U)
        led_top ^= (uint16_t)(1U << cell);
      else
        led_bottom ^= (uint16_t)(1U << (cell - 16U));
    }
  }

  /* Port D = top LED row; Port E = bottom LED row. */
  GPIOD->ODR = (GPIOD->ODR & 0xFFFF0000U) | led_top;
  GPIOE->ODR = (GPIOE->ODR & 0xFFFF0000U) | led_bottom;
}

/**
 * @brief Return nonzero while Switch 7 (PC11) is pressed.
 *        The input is active-low because PC11 is configured with a pull-up.
 */
static uint8_t Battleship_Is_Button_Pressed(void)
{
  return ((GPIOC->IDR & PLACE_BUTTON_PIN) == 0U) ? 1U : 0U;
}

/**
 * @brief Attempt to place the next boat for the current player.
 *
 * Each player places three single-cell boats followed by two double-cell
 * boats. A vertical double occupies the top and bottom cells in one column.
 * A horizontal double occupies two adjacent columns in the selected row.
 *
 * @return 1 if placement succeeded; 0 if it overlaps or is out of bounds.
 */
static uint8_t Battleship_Try_Place_Boat(void)
{
  volatile uint32_t *vertical_map;
  volatile uint32_t *horizontal_map;
  uint8_t boat_is_double = (Boats_Placed >= 3U) ? 1U : 0U;

  if (Placement_Complete || Boats_Placed >= 5U)
    return 0U;

  if (Current_Player == 1U)
  {
    vertical_map = &Player1_Vertical_Map;
    horizontal_map = &Player1_Horizontal_Map;
  }
  else
  {
    vertical_map = &Player2_Vertical_Map;
    horizontal_map = &Player2_Horizontal_Map;
  }

  if (Selected_Map == 0U)
  {
    /* Vertical board: 2 rows x 16 columns.
     * Top row occupies bits 31..16; bottom row occupies bits 15..0.
     */
    if (Cursor_X >= 16U || Cursor_Y >= 2U)
      return 0U;

    if (boat_is_double)
    {
      /* A vertical two-cell boat starts in the top row and fills both rows. */
      if (Cursor_Y != 0U)
        return 0U;

      uint32_t top_bit = (1UL << (16U + Cursor_X));
      uint32_t bottom_bit = (1UL << Cursor_X);
      uint32_t boat_bits = top_bit | bottom_bit;

      if ((*vertical_map & boat_bits) != 0U)
        return 0U;

      *vertical_map |= boat_bits;
    }
    else
    {
      uint32_t bit = (Cursor_Y == 0U)
                   ? (1UL << (16U + Cursor_X))
                   : (1UL << Cursor_X);

      if ((*vertical_map & bit) != 0U)
        return 0U;

      *vertical_map |= bit;
    }
  }
  else
  {
    /* Horizontal board: 3 rows x 8 columns, stored as three bytes. */
    if (Cursor_X >= 8U || Cursor_Y >= 3U)
      return 0U;

    if (boat_is_double)
    {
      /* Two adjacent cells in the same row; column 7 cannot be the start. */
      if (Cursor_X >= 7U)
        return 0U;

      uint32_t first_bit = (1UL << ((8U * Cursor_Y) + Cursor_X));
      uint32_t second_bit = (1UL << ((8U * Cursor_Y) + Cursor_X + 1U));
      uint32_t boat_bits = first_bit | second_bit;

      if ((*horizontal_map & boat_bits) != 0U)
        return 0U;

      *horizontal_map |= boat_bits;
    }
    else
    {
      uint32_t bit = (1UL << ((8U * Cursor_Y) + Cursor_X));

      if ((*horizontal_map & bit) != 0U)
        return 0U;

      *horizontal_map |= bit;
    }
  }

  /* Successful placement: advance to the next boat. */
  Boats_Placed++;

  if (Boats_Placed >= 5U)
  {
    if (Current_Player == 1U)
    {
      /* Player 1 is finished; now begin Player 2's five placements. */
      Current_Player = 2U;
      Boats_Placed = 0U;
      Cursor_X = 0U;
      Cursor_Y = 0U;
    }
    else
    {
      /* Both players have placed all five boats. */
      Placement_Complete = 1U;
    }
  }

  return 1U;
}

/* USER CODE END 4 */

void Error_Handler(void)
{
  __disable_irq();
  while (1)
  {
  }
}
